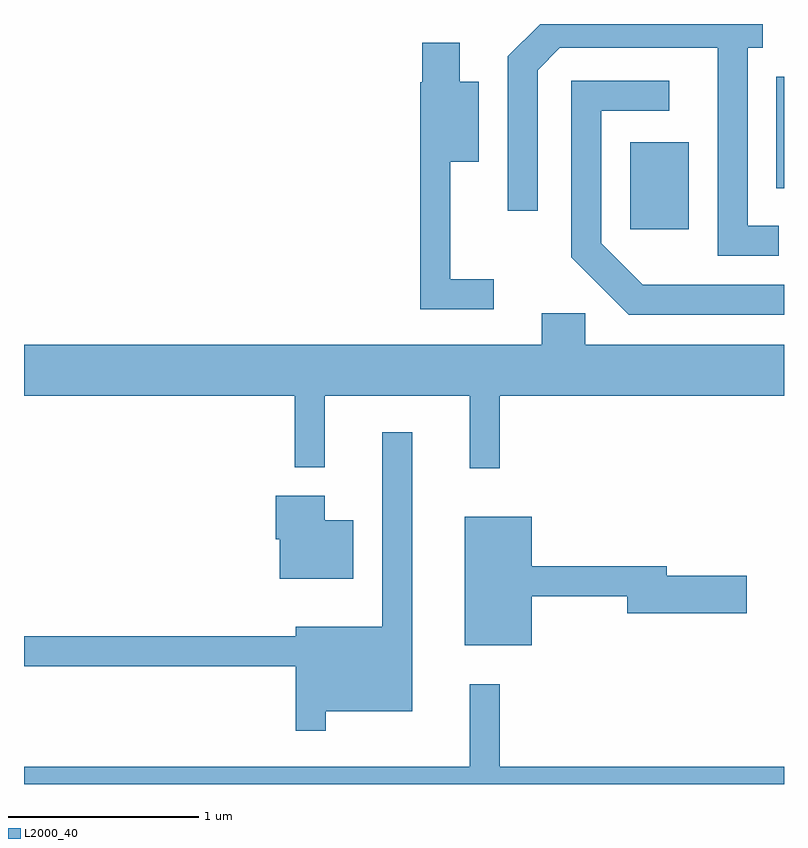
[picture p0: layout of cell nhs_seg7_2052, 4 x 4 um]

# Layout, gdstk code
import gdstk
lib = gdstk.Library(unit=1e-6, precision=1e-09)
def R(c, l, rs):  # rectangles x0, y0, x1, y1
    for r in rs: c.add(gdstk.rectangle(r[:2], r[2:], *l))
def P(c, l, *ps):  # polygons
    for p in ps: c.add(gdstk.Polygon(p, *l))
L2000_40 = (2000, 40)

nhs_seg7_2052 = lib.new_cell('nhs_seg7_2052')
R(nhs_seg7_2052, L2000_40, [(250.801,1735.171,251.109,1735.629), (251.571,1735.388,251.611,1735.974)])
P(nhs_seg7_2052, L2000_40, [(251.583,1735.189),(251.419,1735.189),(251.419,1736.126),(251.498,1736.126),(251.498,1736.252),(250.327,1736.252),(250.156,1736.082),(250.156,1735.268),(250.314,1735.268),(250.314,1736.009),(250.432,1736.126),(251.261,1736.126),(251.261,1735.031),(251.583,1735.031)],
  [(250.083,1734.909),(249.854,1734.909),(249.854,1735.526),(250.004,1735.526),(250.004,1735.949),(249.904,1735.949),(249.904,1736.154),(249.706,1736.154),(249.706,1735.945),(249.696,1735.945),(249.696,1734.751),(250.083,1734.751)],
  [(251.611,1734.879),(250.867,1734.879),(250.649,1735.097),(250.649,1735.796),(251.008,1735.796),(251.008,1735.954),(250.491,1735.954),(250.491,1735.024),(250.794,1734.721),(251.611,1734.721)],
  [(250.114,1734.296),(251.611,1734.296),(251.611,1734.564),(250.564,1734.564),(250.564,1734.729),(250.336,1734.729),(250.336,1734.564),(247.611,1734.564),(247.611,1734.296),(249.036,1734.296),(249.036,1733.918),(249.194,1733.918),(249.194,1734.296),(249.956,1734.296),(249.956,1733.913),(250.114,1733.913)],
  [(249.199,1732.636),(249.654,1732.636),(249.654,1734.103),(249.496,1734.103),(249.496,1733.079),(249.041,1733.079),(249.041,1733.029),(247.611,1733.029),(247.611,1732.871),(249.041,1732.871),(249.041,1732.533),(249.199,1732.533)],
  [(249.344,1733.639),(249.194,1733.639),(249.194,1733.769),(248.936,1733.769),(248.936,1733.541),(248.956,1733.541),(248.956,1733.331),(249.344,1733.331)],
  [(250.284,1733.241),(250.786,1733.241),(250.786,1733.151),(251.414,1733.151),(251.414,1733.349),(250.994,1733.349),(250.994,1733.399),(250.284,1733.399),(250.284,1733.659),(249.931,1733.659),(249.931,1732.981),(250.284,1732.981)],
  [(251.611,1732.344),(250.114,1732.344),(250.114,1732.778),(249.956,1732.778),(249.956,1732.344),(247.611,1732.344),(247.611,1732.252),(251.611,1732.252)])

lib.write_gds('nhs_seg7_2052.gds')
